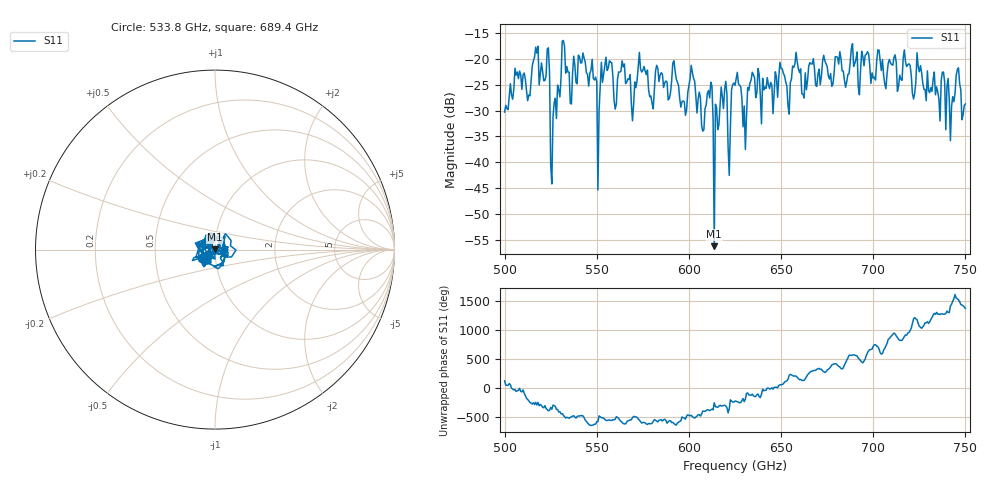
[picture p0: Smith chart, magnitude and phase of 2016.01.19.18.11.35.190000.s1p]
!Created with skrf (http://scikit-rf.org).
# GHz S RI R 50.0
!freq ReS11 ImS11
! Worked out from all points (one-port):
!   401 points, 500 GHz to 750 GHz, reference 50 ohm
!   lowest |S11| = -56.2 dB at 613.8 GHz (marker M1), VSWR 1.00, Z = 50 + j0.152 ohm
!   |S11| at or under -10 dB: start of sweep to end of sweep
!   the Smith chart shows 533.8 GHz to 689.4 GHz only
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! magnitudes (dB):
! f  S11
! 500 GHz  -30.3
! 506.9 GHz  -22.6
! 513.1 GHz  -27.0
! 516.9 GHz  -17.8
! 523.1 GHz  -18.1
! 526.2 GHz  -31.3
! 531.2 GHz  -16.6
! 548.1 GHz  -23.8
! 550.6 GHz  -45.3
! 553.8 GHz  -22.9
! 562.5 GHz  -22.6
! 570 GHz  -28.8
! 573.8 GHz  -22.0
! 593.8 GHz  -24.5
! 597.5 GHz  -28.3
! 601.9 GHz  -22.7
! 608.1 GHz  -33.7
! 611.2 GHz  -27.6
! 613.8 GHz  -56.2
! 618.8 GHz  -29.6
! 622.5 GHz  -33.2
! 625 GHz  -25.1
! 630 GHz  -29.1
! 634.4 GHz  -22.6
! 656.2 GHz  -21.4
! 687.5 GHz  -20.7
! 718.8 GHz  -21.1
! 750 GHz  -28.7
